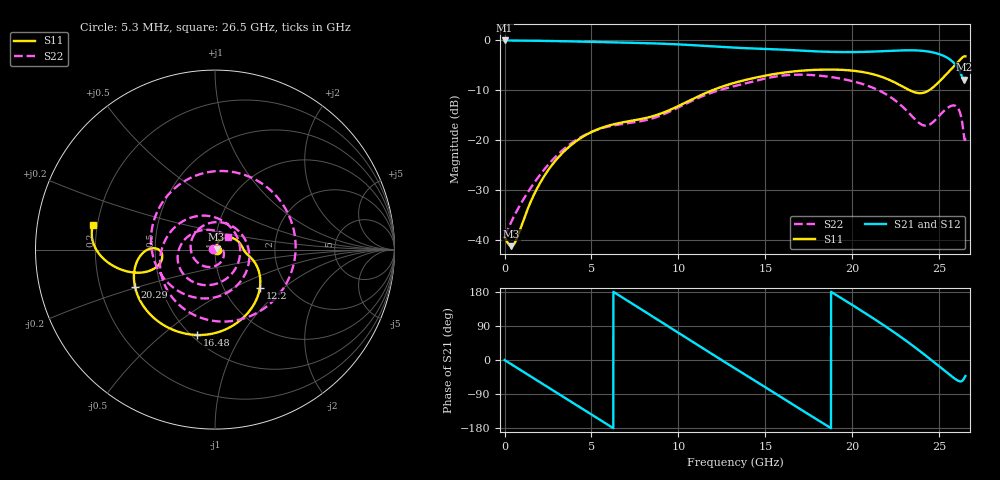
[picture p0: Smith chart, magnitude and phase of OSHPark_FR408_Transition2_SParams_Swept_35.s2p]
! TOUCHSTONE file generated by CST MICROWAVE STUDIO
! Date and time: Tue Jan  7 09:43:53 2020
! Project name: OSHPark_FR408_Transition2.cst
! Parameters = {GND_Plane_XMax=13; Cap_Disk_XOffset=0; Cap_Disk2_YCenter=-1.03; Cap_Disk_YCenter=1.03; Cap_Disk_XCenter=7.39; Cap_Disk_Radius=0.5; BottomSupport_Left_YMax=4.76; BottomSupport_Left_YMin=3.74; BottomSupport_Right_YMax=-3.74; BottomSupport_Right_YMin=-4.76; BottomSupport_XMax=11.64; Bot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
! Header version: 2015
! Port assignment regex: !\s*Touchstone port\s*([0-9]+)\s*=\s*CST MWS port\s*([0-9]+)\s*\(\"(.*)\"\)(\s*mode\s*([0-9]+))?.*
! Touchstone port assignment:
! Touchstone port 1 = CST MWS port 1 ("")
! Touchstone port 2 = CST MWS port 2 ("")
# GHz S MA R 50
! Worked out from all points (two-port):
!   5000 points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, 5.3 MHz to 26.5 GHz, reference 50 ohm
!   highest |S21| = 0.00 dB at 5.3 MHz (marker M1); lowest = -7.8 dB at 26.43 GHz (marker M2)
!   |S21| within 3 dB of the highest: start of sweep to 25.18 GHz
!   lowest |S11| = -41.3 dB at 392.2 MHz (marker M3), VSWR 1.02, Z = 50.9 + j0.0999 ohm
!   |S11| at or under -10 dB: start of sweep to 11.94 GHz; 23.3 GHz to 24.41 GHz (1.11 GHz wide, 4.65 % of centre)
!   |S22| runs from -39.2 to -6.9 dB; largest |S21 - S12| = 0
!   S11 on the Smith chart (normalised r, x): 5.3 MHz: 1.02, -0.01; 12.2 GHz: 1.47, -0.70; 16.48 GHz: 0.53, -0.66; 20.29 GHz: 0.36, -0.19; 26.5 GHz: 0.18, +0.10
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0.0053  0.01066 -27.7  1 -0.2  1 -0.2  0.01093 149.8
0.3922  0.008641 6.5  0.9988 -11.3  0.9988 -11.3  0.01525 110.4
2.5175  0.05018 65.3  0.9887 -72.5  0.9887 -72.5  0.05681 -29.2
4.4255  0.1061 39.9  0.9733 -127.4  0.9733 -127.4  0.1082 -118.6
5.5173  0.1317 23.5  0.9633 -158.8  0.9633 -158.8  0.1305 -166.9
6.5455  0.1479 9.9  0.9543 171.7  0.9543 171.7  0.1432 145.6
8.8404  0.1809 -8.1  0.9315 105.2  0.9315 105.2  0.173 25.9
10.3138  0.234 -18.2  0.9071 62.3  0.9071 62.3  0.2268 -50.5
12.1953  0.3288 -40.6  0.8651 8.1  0.8651 8.1  0.311 -134.5
13.2553  0.3775 -55.6  0.8451 -22.0  0.8451 -22.0  0.3496 -176.4
14.9513  0.4421 -79.7  0.8253 -70.5  0.8253 -70.5  0.4135 118.4
16.4777  0.4859 -101.7  0.8002 -114.6  0.8002 -114.6  0.4518 54.2
17.6702  0.5053 -118.7  0.7803 -148.7  0.7803 -148.7  0.4497 2.2
19.0694  0.5097 -138.3  0.7662 171.6  0.7662 171.6  0.4216 -58.7
20.2884  0.4913 -155.2  0.7657 136.7  0.7657 136.7  0.3788 -111.4
22.0851  0.4052 -177.0  0.7852 83.1  0.7852 83.1  0.2783 166.5
23.1822  0.3238 179.1  0.7968 47.7  0.7968 47.7  0.1929 102.6
24.2687  0.3064 -167.9  0.7788 9.8  0.7788 9.8  0.1399 3.6
25.5884  0.4939 -165.5  0.6485 -38.7  0.6485 -38.7  0.2168 -122.2
26.0972  0.6138 -174.4  0.5173 -55.0  0.5173 -55.0  0.2061 -175.4
26.4258  0.6925 172.7  0.4053 -48.4  0.4053 -48.4  0.1076 94.3
26.5  0.6922 168.3  0.4219 -42.2  0.4219 -42.2  0.1044 40.2
